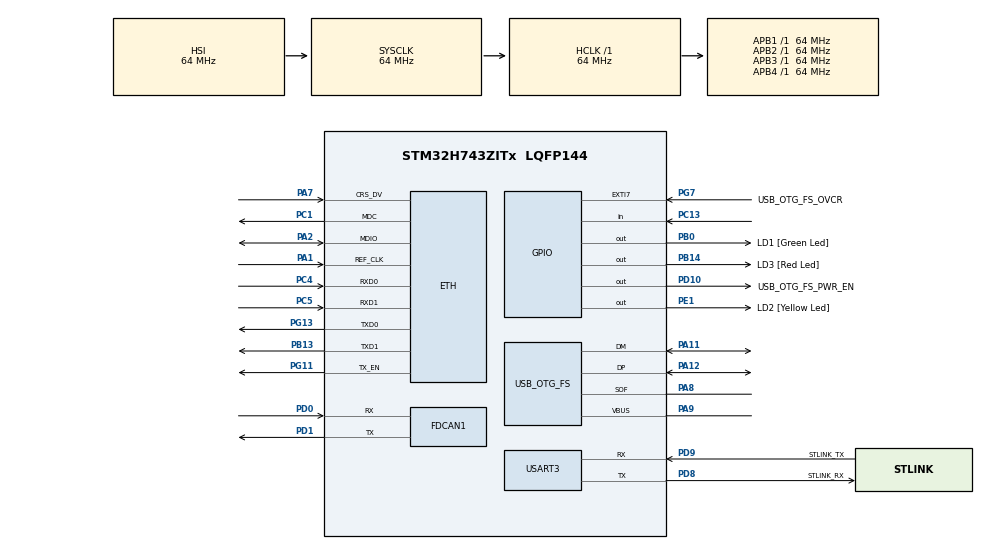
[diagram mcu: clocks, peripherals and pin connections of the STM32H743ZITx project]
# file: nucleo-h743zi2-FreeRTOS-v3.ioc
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ETH.MediaInterface=HAL_ETH_RMII_MODE
FDCAN1.AutoRetransmission=ENABLE
FDCAN1.DataSyncJumpWidth=4
FDCAN1.DataTimeSeg1=5
FDCAN1.DataTimeSeg2=4
FDCAN1.NominalSyncJumpWidth=16
FDCAN1.NominalTimeSeg1=63
FDCAN1.NominalTimeSeg2=16
FDCAN1.RxBuffersNbr=1
FDCAN1.RxFifo0ElmtsNbr=32
FDCAN1.RxFifo1ElmtsNbr=32
FDCAN1.StdFiltersNbr=1
FDCAN1.TransmitPause=ENABLE
FDCAN1.TxBuffersNbr=4
FDCAN1.TxEventsNbr=4
FDCAN1.TxFifoQueueElmtsNbr=32
FREERTOS.BinarySemaphores01=FollowThroughSem,Dynamic,NULL;ThreadExitSem,Dynamic,NULL
FREERTOS.Queues01=CommandQueue,16,uint16_t,0,Dynamic,NULL,NULL
FREERTOS.Tasks01=CommandHandler,47,128,StartCommandHandler,Default,NULL,Dynamic,NULL,NULL;Task1,24,128,StartTask1,Default,NULL,Dynamic,NULL,NULL;Task2,26,128,StartTask2,Default,NULL,Dynamic,NULL,NULL;CommandIdle,8,128,StartCommandIdle,Default,NULL,Dynamic,NULL,NULL;Task3,27,128,StartTask3,Default,NULL,Dynamic,NULL,NULL;ThreadTerminato,25,128,StartThreadTerminator,Default,NULL,Dynamic,NULL,NULL
FREERTOS.configUSE_NEWLIB_REENTRANT=1
Mcu.Family=STM32H7
Mcu.Name=STM32H743ZITx
Mcu.Package=LQFP144
NVIC.FDCAN1_IT0_IRQn=true\:5\:0\:false\:false\:true\:true\:true\:true\:true
NVIC.PriorityGroup=NVIC_PRIORITYGROUP_4
NVIC.TIM6_DAC_IRQn=true\:15\:0\:false\:false\:true\:false\:false\:true\:true
NVIC.TimeBase=TIM6_DAC_IRQn
NVIC.TimeBaseIP=TIM6
NVIC.USART3_IRQn=true\:5\:0\:false\:false\:true\:true\:true\:true\:true
PA1.Mode=RMII
PA1.Signal=ETH_REF_CLK
PA11.Mode=Device_Only
PA11.Signal=USB_OTG_FS_DM
PA12.Mode=Device_Only
PA12.Signal=USB_OTG_FS_DP
PA2.Mode=RMII
PA2.Signal=ETH_MDIO
PA7.Mode=RMII
PA7.Signal=ETH_CRS_DV
PA8.Mode=Activate_SOF_FS
PA8.Signal=USB_OTG_FS_SOF
PA9.Mode=Activate_VBUS
PA9.Signal=USB_OTG_FS_VBUS
PB0.GPIO_Label=LD1 [Green Led]
PB0.Signal=GPIO_Output
PB13.Mode=RMII
PB13.Signal=ETH_TXD1
PB14.GPIO_Label=LD3 [Red Led]
PB14.Signal=GPIO_Output
PC1.Mode=RMII
PC1.Signal=ETH_MDC
PC13.Signal=GPIO_Input
PC14-OSC32_IN\ (OSC32_IN).Mode=LSE-External-Oscillator
PC14-OSC32_IN\ (OSC32_IN).Signal=RCC_OSC32_IN
PC15-OSC32_OUT\ (OSC32_OUT).Mode=LSE-External-Oscillator
PC15-OSC32_OUT\ (OSC32_OUT).Signal=RCC_OSC32_OUT
PC4.Mode=RMII
PC4.Signal=ETH_RXD0
PC5.Mode=RMII
PC5.Signal=ETH_RXD1
PD0.Mode=FDCAN_Activate
PD0.Signal=FDCAN1_RX
PD1.Mode=FDCAN_Activate
PD1.Signal=FDCAN1_TX
PD10.GPIO_Label=USB_OTG_FS_PWR_EN
PD10.Signal=GPIO_Output
PD8.GPIO_Label=STLINK_RX
PD8.Mode=Asynchronous
PD8.Signal=USART3_TX
PD9.GPIO_Label=STLINK_TX
PD9.Mode=Asynchronous
PD9.Signal=USART3_RX
PE1.GPIO_Label=LD2 [Yellow Led]
PE1.Signal=GPIO_Output
PG11.Mode=RMII
PG11.Signal=ETH_TX_EN
PG13.Mode=RMII
PG13.Signal=ETH_TXD0
PG7.GPIO_Label=USB_OTG_FS_OVCR
PG7.Signal=GPXTI7
PH0-OSC_IN\ (PH0).Mode=HSE-External-Clock-Source
PH0-OSC_IN\ (PH0).Signal=RCC_OSC_IN
PH1-OSC_OUT\ (PH1).Signal=RCC_OSC_OUT
ProjectManager.HeapSize=0x200
ProjectManager.StackSize=0x400
ProjectManager.TargetToolchain=STM32CubeIDE
RCC.ADCFreq_Value=16125000
RCC.APB1Freq_Value=64000000
RCC.APB2Freq_Value=64000000
RCC.APB3Freq_Value=64000000
RCC.APB4Freq_Value=64000000
RCC.CortexFreq_Value=64000000
RCC.DIVM1=1
RCC.DIVN1=24
RCC.DIVQ1=4
RCC.HCLKFreq_Value=64000000
RCC.HSE_VALUE=8000000
RCC.PLLFRACN=0
RCC.PWR_Regulator_Voltage_Scale=PWR_REGULATOR_VOLTAGE_SCALE2
RCC.SYSCLKFreq_VALUE=64000000
RCC.USBFreq_Value=48000000
USART3.RXFIFOThreshold=RXFIFO_THRESHOLD_1EIGHTHFULL
USART3.VirtualMode-Asynchronous=VM_ASYNC
USB_OTG_FS.VirtualMode=Device_Only
VP_FREERTOS_VS_CMSIS_V2.Mode=CMSIS_V2
VP_SYS_VS_tim6.Mode=TIM6
board=NUCLEO-H743ZI2

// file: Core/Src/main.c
/* USER CODE BEGIN Header */
/**
  ******************************************************************************
  * @file           : main.c
  * @brief          : Main program body
  ******************************************************************************
  * @attention
  *
  * Copyright (c) 2022 STMicroelectronics.
  * All rights reserved.
  *
  * This software is licensed under terms that can be found in the LICENSE file
  * in the root directory of this software component.
  * If no LICENSE file comes with this software, it is provided AS-IS.
  *
  ******************************************************************************
  */
/* USER CODE END Header */
#include "main.h"
#include "string.h"
#include "cmsis_os.h"

/* USER CODE BEGIN Includes */
#include <stdio.h>
#include <time.h>	// seeding pseudo RNG
#include <stdlib.h>	// for rng
//#include "cmsis_os2.h"

/* USER CODE END Includes */

/* USER CODE BEGIN PM */
#if defined (__ICCARM__) || defined (__ARMCC_VERSION)
#define PUTCHAR_PROTOTYPE int fputc(int ch, FILE *f)
#define GETCHAR_PROTOTYPE int fgetc(FILE *f)
#elif defined(__GNUC__)
#define PUTCHAR_PROTOTYPE int __io_putchar(int ch)
#define GETCHAR_PROTOTYPE int __io_getchar(void)

GETCHAR_PROTOTYPE;
#endif

/* USER CODE END PM */

#if defined ( __ICCARM__ ) /*!< IAR Compiler */
#pragma location=0x30000000
ETH_DMADescTypeDef  DMARxDscrTab[ETH_RX_DESC_CNT]; /* Ethernet Rx DMA Descriptors */
#pragma location=0x30000200
ETH_DMADescTypeDef  DMATxDscrTab[ETH_TX_DESC_CNT]; /* Ethernet Tx DMA Descriptors */
#pragma location=0x30000260
uint8_t Rx_Buff[ETH_RX_DESC_CNT][ETH_MAX_PACKET_SIZE]; /* Ethernet Receive Buffers */

#elif defined ( __CC_ARM )  /* MDK ARM Compiler */

__attribute__((at(0x30000000))) ETH_DMADescTypeDef  DMARxDscrTab[ETH_RX_DESC_CNT]; /* Ethernet Rx DMA Descriptors */
__attribute__((at(0x30000200))) ETH_DMADescTypeDef  DMATxDscrTab[ETH_TX_DESC_CNT]; /* Ethernet Tx DMA Descriptors */
__attribute__((at(0x30000260))) uint8_t Rx_Buff[ETH_RX_DESC_CNT][ETH_MAX_PACKET_SIZE]; /* Ethernet Receive Buffer */

#elif defined ( __GNUC__ ) /* GNU Compiler */
ETH_DMADescTypeDef DMARxDscrTab[ETH_RX_DESC_CNT] __attribute__((section(".RxDecripSection"))); /* Ethernet Rx DMA Descriptors */
ETH_DMADescTypeDef DMATxDscrTab[ETH_TX_DESC_CNT] __attribute__((section(".TxDecripSection")));   /* Ethernet Tx DMA Descriptors */
uint8_t Rx_Buff[ETH_RX_DESC_CNT][ETH_MAX_PACKET_SIZE] __attribute__((section(".RxArraySection"))); /* Ethernet Receive Buffers */
#endif

ETH_TxPacketConfig TxConfig;

ETH_HandleTypeDef heth;

FDCAN_HandleTypeDef hfdcan1;

UART_HandleTypeDef huart3;

PCD_HandleTypeDef hpcd_USB_OTG_FS;

/* Definitions for CommandHandler */
osThreadId_t CommandHandlerHandle;
const osThreadAttr_t CommandHandler_attributes = {
  .name = "CommandHandler",
  .stack_size = 128 * 4,
  .priority = (osPriority_t) osPriorityHigh7,
};
/* Definitions for Task1 */
osThreadId_t Task1Handle;
const osThreadAttr_t Task1_attributes = {
  .name = "Task1",
  .stack_size = 128 * 4,
  .priority = (osPriority_t) osPriorityNormal,
};
/* Definitions for Task2 */
osThreadId_t Task2Handle;
const osThreadAttr_t Task2_attributes = {
  .name = "Task2",
  .stack_size = 128 * 4,
  .priority = (osPriority_t) osPriorityNormal2,
};
/* Definitions for CommandIdle */
osThreadId_t CommandIdleHandle;
const osThreadAttr_t CommandIdle_attributes = {
  .name = "CommandIdle",
  .stack_size = 128 * 4,
  .priority = (osPriority_t) osPriorityLow,
};
/* Definitions for Task3 */
osThreadId_t Task3Handle;
const osThreadAttr_t Task3_attributes = {
  .name = "Task3",
  .stack_size = 128 * 4,
  .priority = (osPriority_t) osPriorityNormal3,
};
/* Definitions for ThreadTerminato */
osThreadId_t ThreadTerminatoHandle;
const osThreadAttr_t ThreadTerminato_attributes = {
  .name = "ThreadTerminato",
  .stack_size = 128 * 4,
  .priority = (osPriority_t) osPriorityNormal1,
};
/* Definitions for CommandQueue */
osMessageQueueId_t CommandQueueHandle;
const osMessageQueueAttr_t CommandQueue_attributes = {
  .name = "CommandQueue"
};
/* Definitions for FollowThroughSem */
osSemaphoreId_t FollowThroughSemHandle;
const osSemaphoreAttr_t FollowThroughSem_attributes = {
  .name = "FollowThroughSem"
};
/* Definitions for ThreadExitSem */
osSemaphoreId_t ThreadExitSemHandle;
const osSemaphoreAttr_t ThreadExitSem_attributes = {
  .name = "ThreadExitSem"
};
/* USER CODE BEGIN PV */
FDCAN_FilterTypeDef sFilterConfig;
FDCAN_TxHeaderTypeDef TxHeader;
FDCAN_RxHeaderTypeDef RxHeader;

uint8_t TxData[] = {42, 69};
uint8_t RxData[2];
uint8_t USART_DATA[2];

osMutexId_t FollowThroughMutexHandle;

const osMutexAttr_t FollowThroughMutex_attributes = {
    "FollowThroughMutex",
		osMutexRobust | osMutexPrioInherit,
		NULL,
		0U
  };

int value;

char msg[] = "Hello this is a message\n";

/* USER CODE END PV */

void SystemClock_Config(void);
static void MX_GPIO_Init(void);
static void MX_ETH_Init(void);
static void MX_USART3_UART_Init(void);
static void MX_USB_OTG_FS_PCD_Init(void);
static void MX_FDCAN1_Init(void);
void StartCommandHandler(void *argument);
void StartTask1(void *argument);
void StartTask2(void *argument);
void StartCommandIdle(void *argument);
void StartTask3(void *argument);
void StartThreadTerminator(void *argument);

/* USER CODE BEGIN 0 */
int count=0;
gpio_t user_button;

void check_button(){
	if (HAL_GPIO_ReadPin(user_button.bank, user_button.pin) == 1){	// button is pressed
		printf("DEBUG: button pressed!\r\n");
		while(HAL_GPIO_ReadPin(user_button.bank, user_button.pin) == 1){ // wait until release
			// do nothing
		}
		printf("DEBUG: button released!\r\n");
	}
}

/* USER CODE END 0 */

int main(void)
{
  /* USER CODE BEGIN 1 */
	//OBC = 0: EPS, NEEDS TO SEND DATA TO OBC.
	//OBC = 1: ON-BOARD COMPUTER, NEEDS TO HANDLE INCOMING DATA
	//IF TX, OBC = 0
  int OBC = 1;
  /* USER CODE END 1 */

  /* MCU Configuration--------------------------------------------------------*/

  /* Reset of all peripherals, Initializes the Flash interface and the Systick. */
  HAL_Init();

  /* Configure the system clock */
  SystemClock_Config();

  /* USER CODE BEGIN SysInit */

	/**
	 * user button
	 * um1974-stm32-nucleo144-boards-mb1137-stmicroelectronics.pdf
	 * section 6.6
	 */
	user_button.bank = GPIOC;
	user_button.pin = GPIO_PIN_13;

  /* USER CODE END SysInit */

  /* Initialize all configured peripherals */
  MX_GPIO_Init();
  MX_ETH_Init();
  MX_USART3_UART_Init();
  MX_USB_OTG_FS_PCD_Init();
  MX_FDCAN1_Init();
  /* USER CODE BEGIN 2 */

  //Enable Interrupt Mode for USART3
  HAL_UART_Receive_IT(&huart3, USART_DATA, 1);

  printf("USART3 initialized\r\n");
  printf("FDCAN1 initialized\r\n");

  /* reception filter for Rx FIFO 0 */
  sFilterConfig.IdType = FDCAN_STANDARD_ID;
  sFilterConfig.FilterIndex = 0;
  sFilterConfig.FilterType = FDCAN_FILTER_MASK;
//  sFilterConfig.FilterConfig = FDCAN_FILTER_TO_RXBUFFER;
//  sFilterConfig.FilterID1 = 0x7FF;

  /**
   * Yong Da Li, Reid Sox-Harris
   * Saturday, Sept 03, 2022
   * don't use the FilterConfig = FDCAN_FILTER_TO_RXBUFFER mode
   * couldn't get it working
   * use the FilterConfig = FDCAN_FILTER_TO_RXFIFO0
   * 	then need to set FilterType = FDCAN_FILTER_MASK
   * section 4.3.1 of AN5348 App Note: FDCAN Peripheral on STM32 devices
   * Classic bit mask filter: to match groups of identifiers by masking bits of a received identifier. The first ID
   * configured is used as message ID filter, the second ID is used as filter mask. Each zero bit at the filter mask
   * masks out the corresponding bit position of the configured ID filter
   */
  sFilterConfig.FilterConfig = FDCAN_FILTER_TO_RXFIFO0;
  sFilterConfig.FilterID1 = 0x111;	// since all filterID2 is set to 1's, then must be exact match on filterID1
  sFilterConfig.FilterID2 = 0x7FF;
  // don't need the other struct components since we're using RX FIFO
  // they're only used if FilterConfig == FDCAN_FITLER_TO_RXBUFFER

  if (HAL_FDCAN_ConfigFilter(&hfdcan1, &sFilterConfig) != HAL_OK){
	  Error_Handler();
  }
  printf("FDCAN filter is configured\r\n");

//  /* Configure global filter:
//	Filter all remote frames with STD and EXT ID
//	Reject non matching frames with STD ID and EXT ID
//   */
  if (HAL_FDCAN_ConfigGlobalFilter(&hfdcan1, FDCAN_REJECT, FDCAN_REJECT, FDCAN_REJECT_REMOTE, FDCAN_REJECT_REMOTE) != HAL_OK){
	  Error_Handler();
  }

  if ((&hfdcan1, FDCAN_REJECT, FDCAN_REJECT, FDCAN_FILTER_REMOTE, FDCAN_FILTER_REMOTE) != HAL_OK){
	  Error_Handler();
  }
  printf("FDCAN global filter is configured\r\n");

  /* Prepare Tx message Header */
  TxHeader.Identifier = 0x111;
  TxHeader.IdType = FDCAN_STANDARD_ID;
  TxHeader.TxFrameType = FDCAN_DATA_FRAME;
  TxHeader.DataLength = FDCAN_DLC_BYTES_8;
  TxHeader.ErrorStateIndicator = FDCAN_ESI_ACTIVE;	// transmitting node is error active
  TxHeader.BitRateSwitch = FDCAN_BRS_OFF;
  TxHeader.FDFormat = FDCAN_CLASSIC_CAN;	// needs to be set to classic CAN mode, not FDCAN mode
  TxHeader.TxEventFifoControl = FDCAN_NO_TX_EVENTS;
  TxHeader.MessageMarker = 0;		// message marker to identify Tx message status, not too important
  printf("prepared TxHeader\r\n");

  // don't do any delay compensation
  // only required if we're using BRS = bit rate switching mode
  // for this basic setup, we're not doing that

  /* === trying to put FDCAN into interrupt mode === */
  /**
   * check out the example called "FDCAN_Com_IT" for the STM32H743I_EVAL discover board
   * open up a new project, and navigate to the example selector
   * Yong Da is basing his code from there
   */

  printf("putting the FDCAN module into interrupt mode\r\n");
  /* Configure Rx FIFO 0 watermark to 2 */
  HAL_FDCAN_ConfigFifoWatermark(&hfdcan1, FDCAN_CFG_RX_FIFO0, 2);

  /* Activate Rx FIFO 0 watermark notification */
  HAL_FDCAN_ActivateNotification(&hfdcan1, FDCAN_IT_RX_FIFO0_WATERMARK, 0);

  /* === starting FDCAN module, must be last thing to do === */
  printf("trying to start FDCAN module\r\n");\
  if(HAL_FDCAN_Start(&hfdcan1) != HAL_OK){
	  Error_Handler();
  }
  printf("successfully started FDCAN module\r\n");

  /* === seed random number === */
  srand(time(NULL));

  /* USER CODE END 2 */

  /* Init scheduler */
  osKernelInitialize();

  /* USER CODE BEGIN RTOS_MUTEX */
  FollowThroughMutexHandle = osMutexNew(&FollowThroughMutex_attributes);
  //if(FollowThroughMutexHandle == NULL)
  //	Error_Handler();
  //else
  //	printf("%s", osMutexGetName(FollowThroughMutexHandle));
  /* USER CODE END RTOS_MUTEX */

  /* Create the semaphores(s) */
  /* creation of FollowThroughSem */
  FollowThroughSemHandle = osSemaphoreNew(1, 1, &FollowThroughSem_attributes);

  /* creation of ThreadExitSem */
  ThreadExitSemHandle = osSemaphoreNew(1, 1, &ThreadExitSem_attributes);

  /* USER CODE BEGIN RTOS_SEMAPHORES */
  osSemaphoreAcquire(ThreadExitSemHandle, 0); //Start at 0. //Change the creation instead to start at 0 later.
  /* USER CODE END RTOS_SEMAPHORES */

  /* Create the queue(s) */
  /* creation of CommandQueue */
  CommandQueueHandle = osMessageQueueNew (16, sizeof(uint16_t), &CommandQueue_attributes);

  /* Create the thread(s) */
  /* creation of CommandHandler */
  CommandHandlerHandle = osThreadNew(StartCommandHandler, NULL, &CommandHandler_attributes);

  /* creation of Task1 */
  Task1Handle = osThreadNew(StartTask1, NULL, &Task1_attributes);

  /* creation of Task2 */
  Task2Handle = osThreadNew(StartTask2, NULL, &Task2_attributes);

  /* creation of CommandIdle */
  CommandIdleHandle = osThreadNew(StartCommandIdle, NULL, &CommandIdle_attributes);

  /* creation of Task3 */
  Task3Handle = osThreadNew(StartTask3, NULL, &Task3_attributes);

  /* creation of ThreadTerminato */
  ThreadTerminatoHandle = osThreadNew(StartThreadTerminator, NULL, &ThreadTerminato_attributes);

  /* USER CODE BEGIN RTOS_THREADS */
  osThreadTerminate(Task1Handle);
  osThreadTerminate(Task2Handle);
  osThreadTerminate(Task3Handle);
  /* USER CODE END RTOS_THREADS */

  /* Start scheduler */
  osKernelStart();

  /* We should never get here as control is now taken by the scheduler */
  /* Infinite loop */
  /* USER CODE BEGIN WHILE */
  while (1)
  {
	  if(OBC == 0)
	  {
		  /* ========== TX super loop ========== */
		  printf("count: %d\n\r", count);
		  count++;

		  printf("trying to add message to TxFifo: TxData[0]=%3d, TxData[1]=%3d\r\n", TxData[0], TxData[1]);
		  if (HAL_FDCAN_AddMessageToTxFifoQ(&hfdcan1, &TxHeader, TxData) != HAL_OK){
			  Error_Handler();
		  }
		  printf("successfully added message to TxFifo\r\n");

		  TxData[0] = (uint8_t)rand();
		  TxData[1] = (uint8_t)rand();
		  //Try changing this value here back and forth from 0x111 to 0x100. First make sure it works.
		  if(TxHeader.Identifier == 0x111)
		  {
			  printf("Changing Identifier to 0x111\r\n");
			  TxHeader.Identifier = 0x110;
		  }
		  else
		  {
			  printf("Changing Identifier to 0x110\r\n");
			  TxHeader.Identifier = 0x111;
		  }

		  check_button();

		  HAL_Delay(250);
		  /* ========== TX super loop end ========== */
	  }
    /* USER CODE END WHILE */

  }
}

void SystemClock_Config(void)
{
  RCC_OscInitTypeDef RCC_OscInitStruct = {0};
  RCC_ClkInitTypeDef RCC_ClkInitStruct = {0};

  /** Supply configuration update enable
  */
  HAL_PWREx_ConfigSupply(PWR_LDO_SUPPLY);

  /** Configure the main internal regulator output voltage
  */
  __HAL_PWR_VOLTAGESCALING_CONFIG(PWR_REGULATOR_VOLTAGE_SCALE2);

  while(!__HAL_PWR_GET_FLAG(PWR_FLAG_VOSRDY)) {}

  /** Initializes the RCC Oscillators according to the specified parameters
  * in the RCC_OscInitTypeDef structure.
  */
  RCC_OscInitStruct.OscillatorType = RCC_OSCILLATORTYPE_HSI|RCC_OSCILLATORTYPE_HSE;
  RCC_OscInitStruct.HSEState = RCC_HSE_BYPASS;
  RCC_OscInitStruct.HSIState = RCC_HSI_DIV1;
  RCC_OscInitStruct.HSICalibrationValue = RCC_HSICALIBRATION_DEFAULT;
  RCC_OscInitStruct.PLL.PLLState = RCC_PLL_ON;
  RCC_OscInitStruct.PLL.PLLSource = RCC_PLLSOURCE_HSE;
  RCC_OscInitStruct.PLL.PLLM = 1;
  RCC_OscInitStruct.PLL.PLLN = 24;
  RCC_OscInitStruct.PLL.PLLP = 2;
  RCC_OscInitStruct.PLL.PLLQ = 4;
  RCC_OscInitStruct.PLL.PLLR = 2;
  RCC_OscInitStruct.PLL.PLLRGE = RCC_PLL1VCIRANGE_3;
  RCC_OscInitStruct.PLL.PLLVCOSEL = RCC_PLL1VCOWIDE;
  RCC_OscInitStruct.PLL.PLLFRACN = 0;
  if (HAL_RCC_OscConfig(&RCC_OscInitStruct) != HAL_OK)
  {
    Error_Handler();
  }

  /** Initializes the CPU, AHB and APB buses clocks
  */
  RCC_ClkInitStruct.ClockType = RCC_CLOCKTYPE_HCLK|RCC_CLOCKTYPE_SYSCLK
                              |RCC_CLOCKTYPE_PCLK1|RCC_CLOCKTYPE_PCLK2
                              |RCC_CLOCKTYPE_D3PCLK1|RCC_CLOCKTYPE_D1PCLK1;
  RCC_ClkInitStruct.SYSCLKSource = RCC_SYSCLKSOURCE_HSI;
  RCC_ClkInitStruct.SYSCLKDivider = RCC_SYSCLK_DIV1;
  RCC_ClkInitStruct.AHBCLKDivider = RCC_HCLK_DIV1;
  RCC_ClkInitStruct.APB3CLKDivider = RCC_APB3_DIV1;
  RCC_ClkInitStruct.APB1CLKDivider = RCC_APB1_DIV1;
  RCC_ClkInitStruct.APB2CLKDivider = RCC_APB2_DIV1;
  RCC_ClkInitStruct.APB4CLKDivider = RCC_APB4_DIV1;

  if (HAL_RCC_ClockConfig(&RCC_ClkInitStruct, FLASH_LATENCY_1) != HAL_OK)
  {
    Error_Handler();
  }
}

static void MX_ETH_Init(void)
{

   static uint8_t MACAddr[6];

  heth.Instance = ETH;
  MACAddr[0] = 0x00;
  MACAddr[1] = 0x80;
  MACAddr[2] = 0xE1;
  MACAddr[3] = 0x00;
  MACAddr[4] = 0x00;
  MACAddr[5] = 0x00;
  heth.Init.MACAddr = &MACAddr[0];
  heth.Init.MediaInterface = HAL_ETH_RMII_MODE;
  heth.Init.TxDesc = DMATxDscrTab;
  heth.Init.RxDesc = DMARxDscrTab;
  heth.Init.RxBuffLen = 1524;

  if (HAL_ETH_Init(&heth) != HAL_OK)
  {
    Error_Handler();
  }

  memset(&TxConfig, 0 , sizeof(ETH_TxPacketConfig));
  TxConfig.Attributes = ETH_TX_PACKETS_FEATURES_CSUM | ETH_TX_PACKETS_FEATURES_CRCPAD;
  TxConfig.ChecksumCtrl = ETH_CHECKSUM_IPHDR_PAYLOAD_INSERT_PHDR_CALC;
  TxConfig.CRCPadCtrl = ETH_CRC_PAD_INSERT;

}

static void MX_FDCAN1_Init(void)
{

  hfdcan1.Instance = FDCAN1;
  hfdcan1.Init.FrameFormat = FDCAN_FRAME_CLASSIC;
  hfdcan1.Init.Mode = FDCAN_MODE_NORMAL;
  hfdcan1.Init.AutoRetransmission = ENABLE;
  hfdcan1.Init.TransmitPause = ENABLE;
  hfdcan1.Init.ProtocolException = DISABLE;
  hfdcan1.Init.NominalPrescaler = 1;
  hfdcan1.Init.NominalSyncJumpWidth = 16;
  hfdcan1.Init.NominalTimeSeg1 = 63;
  hfdcan1.Init.NominalTimeSeg2 = 16;
  hfdcan1.Init.DataPrescaler = 1;
  hfdcan1.Init.DataSyncJumpWidth = 4;
  hfdcan1.Init.DataTimeSeg1 = 5;
  hfdcan1.Init.DataTimeSeg2 = 4;
  hfdcan1.Init.MessageRAMOffset = 0;
  hfdcan1.Init.StdFiltersNbr = 1;
  hfdcan1.Init.ExtFiltersNbr = 0;
  hfdcan1.Init.RxFifo0ElmtsNbr = 32;
  hfdcan1.Init.RxFifo0ElmtSize = FDCAN_DATA_BYTES_8;
  hfdcan1.Init.RxFifo1ElmtsNbr = 32;
  hfdcan1.Init.RxFifo1ElmtSize = FDCAN_DATA_BYTES_8;
  hfdcan1.Init.RxBuffersNbr = 1;
  hfdcan1.Init.RxBufferSize = FDCAN_DATA_BYTES_8;
  hfdcan1.Init.TxEventsNbr = 4;
  hfdcan1.Init.TxBuffersNbr = 4;
  hfdcan1.Init.TxFifoQueueElmtsNbr = 32;
  hfdcan1.Init.TxFifoQueueMode = FDCAN_TX_FIFO_OPERATION;
  hfdcan1.Init.TxElmtSize = FDCAN_DATA_BYTES_8;
  if (HAL_FDCAN_Init(&hfdcan1) != HAL_OK)
  {
    Error_Handler();
  }

}

static void MX_USART3_UART_Init(void)
{

  huart3.Instance = USART3;
  huart3.Init.BaudRate = 115200;
  huart3.Init.WordLength = UART_WORDLENGTH_8B;
  huart3.Init.StopBits = UART_STOPBITS_1;
  huart3.Init.Parity = UART_PARITY_NONE;
  huart3.Init.Mode = UART_MODE_TX_RX;
  huart3.Init.HwFlowCtl = UART_HWCONTROL_NONE;
  huart3.Init.OverSampling = UART_OVERSAMPLING_16;
  huart3.Init.OneBitSampling = UART_ONE_BIT_SAMPLE_DISABLE;
  huart3.Init.ClockPrescaler = UART_PRESCALER_DIV1;
  huart3.AdvancedInit.AdvFeatureInit = UART_ADVFEATURE_NO_INIT;
  if (HAL_UART_Init(&huart3) != HAL_OK)
  {
    Error_Handler();
  }
  if (HAL_UARTEx_SetTxFifoThreshold(&huart3, UART_TXFIFO_THRESHOLD_1_8) != HAL_OK)
  {
    Error_Handler();
  }
  if (HAL_UARTEx_SetRxFifoThreshold(&huart3, UART_RXFIFO_THRESHOLD_1_8) != HAL_OK)
  {
    Error_Handler();
  }
  if (HAL_UARTEx_DisableFifoMode(&huart3) != HAL_OK)
  {
    Error_Handler();
  }

}

static void MX_USB_OTG_FS_PCD_Init(void)
{

  hpcd_USB_OTG_FS.Instance = USB_OTG_FS;
  hpcd_USB_OTG_FS.Init.dev_endpoints = 9;
  hpcd_USB_OTG_FS.Init.speed = PCD_SPEED_FULL;
  hpcd_USB_OTG_FS.Init.dma_enable = DISABLE;
  hpcd_USB_OTG_FS.Init.phy_itface = PCD_PHY_EMBEDDED;
  hpcd_USB_OTG_FS.Init.Sof_enable = ENABLE;
  hpcd_USB_OTG_FS.Init.low_power_enable = DISABLE;
  hpcd_USB_OTG_FS.Init.lpm_enable = DISABLE;
  hpcd_USB_OTG_FS.Init.battery_charging_enable = ENABLE;
  hpcd_USB_OTG_FS.Init.vbus_sensing_enable = ENABLE;
  hpcd_USB_OTG_FS.Init.use_dedicated_ep1 = DISABLE;
  if (HAL_PCD_Init(&hpcd_USB_OTG_FS) != HAL_OK)
  {
    Error_Handler();
  }

}

static void MX_GPIO_Init(void)
{
  GPIO_InitTypeDef GPIO_InitStruct = {0};

  /* GPIO Ports Clock Enable */
  __HAL_RCC_GPIOC_CLK_ENABLE();
  __HAL_RCC_GPIOH_CLK_ENABLE();
  __HAL_RCC_GPIOA_CLK_ENABLE();
  __HAL_RCC_GPIOB_CLK_ENABLE();
  __HAL_RCC_GPIOD_CLK_ENABLE();
  __HAL_RCC_GPIOG_CLK_ENABLE();
  __HAL_RCC_GPIOE_CLK_ENABLE();

  /*Configure GPIO pin Output Level */
  HAL_GPIO_WritePin(GPIOB, LD1_Pin|LD3_Pin, GPIO_PIN_RESET);

  /*Configure GPIO pin Output Level */
  HAL_GPIO_WritePin(USB_OTG_FS_PWR_EN_GPIO_Port, USB_OTG_FS_PWR_EN_Pin, GPIO_PIN_RESET);

  /*Configure GPIO pin Output Level */
  HAL_GPIO_WritePin(LD2_GPIO_Port, LD2_Pin, GPIO_PIN_RESET);

  /*Configure GPIO pin : PC13 */
  GPIO_InitStruct.Pin = GPIO_PIN_13;
  GPIO_InitStruct.Mode = GPIO_MODE_INPUT;
  GPIO_InitStruct.Pull = GPIO_NOPULL;
  HAL_GPIO_Init(GPIOC, &GPIO_InitStruct);

  /*Configure GPIO pins : LD1_Pin LD3_Pin */
  GPIO_InitStruct.Pin = LD1_Pin|LD3_Pin;
  GPIO_InitStruct.Mode = GPIO_MODE_OUTPUT_PP;
  GPIO_InitStruct.Pull = GPIO_NOPULL;
  GPIO_InitStruct.Speed = GPIO_SPEED_FREQ_LOW;
  HAL_GPIO_Init(GPIOB, &GPIO_InitStruct);

  /*Configure GPIO pin : USB_OTG_FS_PWR_EN_Pin */
  GPIO_InitStruct.Pin = USB_OTG_FS_PWR_EN_Pin;
  GPIO_InitStruct.Mode = GPIO_MODE_OUTPUT_PP;
  GPIO_InitStruct.Pull = GPIO_NOPULL;
  GPIO_InitStruct.Speed = GPIO_SPEED_FREQ_LOW;
  HAL_GPIO_Init(USB_OTG_FS_PWR_EN_GPIO_Port, &GPIO_InitStruct);

  /*Configure GPIO pin : USB_OTG_FS_OVCR_Pin */
  GPIO_InitStruct.Pin = USB_OTG_FS_OVCR_Pin;
  GPIO_InitStruct.Mode = GPIO_MODE_IT_RISING;
  GPIO_InitStruct.Pull = GPIO_NOPULL;
  HAL_GPIO_Init(USB_OTG_FS_OVCR_GPIO_Port, &GPIO_InitStruct);

  /*Configure GPIO pin : LD2_Pin */
  GPIO_InitStruct.Pin = LD2_Pin;
  GPIO_InitStruct.Mode = GPIO_MODE_OUTPUT_PP;
  GPIO_InitStruct.Pull = GPIO_NOPULL;
  GPIO_InitStruct.Speed = GPIO_SPEED_FREQ_LOW;
  HAL_GPIO_Init(LD2_GPIO_Port, &GPIO_InitStruct);

}

/* USER CODE BEGIN 4 */
void HAL_FDCAN_RxFifo0Callback(FDCAN_HandleTypeDef *hfdcan, uint32_t RxFifo0ITs){
	if((RxFifo0ITs & FDCAN_IT_RX_FIFO0_WATERMARK) == RESET){
		Error_Handler();
	}

	printf("hit the callback RXFifo0\n\r");

	// https://overiq.com/c-programming-101/local-global-and-static-variables-in-c/
	static int count = 0;	// retain the variable value between different function calls

	/* Retrieve Rx message from RX FIFO0 */
	if (HAL_FDCAN_GetRxMessage(&hfdcan1, FDCAN_RX_FIFO0, &RxHeader, RxData) != HAL_OK){
	  Error_Handler();
	}

	printf("count=%3d, received RxData[0]=%3d, RxData[1]=%d\r\n", count, RxData[0], RxData[1]);
	count++;
}

/**
 * @brief  Retargets the C library printf function to the USART.
 * @param  None
 * @retval None
 */
PUTCHAR_PROTOTYPE
{
	/* Place your implementation of fputc here */
	/* e.g. write a character to the USART1 and Loop until the end of transmission */
	HAL_UART_Transmit(&huart3, (uint8_t *)&ch, 1, 0xFFFF);

	return ch;
}

GETCHAR_PROTOTYPE
{
	uint8_t ch = 0;
	/* Place your implementation of fgetc here */

	/* Clear the Overrun flag just before receiving the first character */
	__HAL_UART_CLEAR_OREFLAG(&huart3);

	/* Wait for reception of a character on the USART1 RX line
     and echo this character on console */
	HAL_UART_Receive(&huart3, (uint16_t *)&ch, 1, 0xFFFF);
	HAL_UART_Transmit(&huart3, (uint16_t *)&ch, 1, 0xFFFF);
	return ch;
}

void HAL_UART_RxCpltCallback(UART_HandleTypeDef* huart3)
{
	printf("HAL_UART_RxCpltCallback: %u\n", USART_DATA[0]);
	uint16_t command = (uint16_t) USART_DATA[0];
	osMessageQueuePut(CommandQueueHandle, (void*) &command, 0, 0);
	HAL_UART_Receive_IT(huart3, USART_DATA, 1);
}

/* USER CODE END 4 */

void StartCommandHandler(void *argument)
{
  /* USER CODE BEGIN 5 */
	uint16_t command;
  /* Infinite loop */
  while(1)
  {
  	if(osMessageQueueGet(CommandQueueHandle, (void*) &command, NULL, osWaitForever) == osOK)
  	{

  		command = command - 48; //From ASCII to int

  		if(command < 0 || command > 9)
  		{
  			printf("Invalid INT. Try again\n");
  		}

  		else if(command == 1)
  		{
  			if(osThreadGetState(Task1Handle) == osThreadInactive ||
  				 osThreadGetState(Task1Handle) == osThreadTerminated)
  			{
  				Task1Handle = osThreadNew(StartTask1, NULL, &Task1_attributes);
  			}
  			else
  			{
  				printf("Task1 Is Already Running\n");
  			}
  		}

  		else if(command == 2)
  		{
  			if(osThreadGetState(Task2Handle) == osThreadInactive ||
  			   osThreadGetState(Task2Handle) == osThreadTerminated)
  			{
  				Task2Handle = osThreadNew(StartTask2, NULL, &Task2_attributes);
  			}
  		  else
  			{
  			  printf("Task2 Is Already Running\n");
  			}
  		}

  		else if(command == 3)
  		{
  			if(osThreadGetState(Task3Handle) == osThreadInactive ||
  			   osThreadGetState(Task3Handle) == osThreadTerminated)
  			{
  				Task3Handle = osThreadNew(StartTask3, NULL, &Task3_attributes);
  			}
  			else
  			{
  				printf("Task3 Is Already Running\n");
  			}
  		}
  		else
  		{
  			printf("Command not implemented\n");
  		}
  	}

  }
  /* USER CODE END 5 */
}

void StartTask1(void *argument)
{
  /* USER CODE BEGIN StartTask1 */
  /* Infinite loop */
  for(;;)
  {
  	printf("Task 1 is running\n");
    osDelay(100);
  }
  /* USER CODE END StartTask1 */
}

void StartTask2(void *argument)
{
  /* USER CODE BEGIN StartTask2 */

	if(osSemaphoreAcquire(FollowThroughSemHandle, osWaitForever) == osOK)
	{

		printf("Task 2 is running\n");

		/* Non-Infinite loop */
		for(int i = -1 ; i < 1000; ++ i)
		{
			for(int d = 0; d < 30000; ++d)
			{
				;
			}

			if((i+1) % 250 == 0)
				printf("Task 2 is %u %% finished\n", (uint16_t)((i+1) / 10));

		}
	}
	osSemaphoreRelease(ThreadExitSemHandle);
  osThreadExit(); //This releases Mutex (Or it should)
  /* USER CODE END StartTask2 */
}

void StartCommandIdle(void *argument)
{
  /* USER CODE BEGIN StartCommandIdle */
  /* Infinite loop */
  for(;;)
  {
  	//Inf Loop, idle-ing waiting for interrupts
  }
  /* USER CODE END StartCommandIdle */
}

void StartTask3(void *argument)
{
  /* USER CODE BEGIN StartTask3 */

	if(osSemaphoreAcquire(FollowThroughSemHandle, osWaitForever) == osOK)
	{
		printf("Task 3 is running\n");

		/* Non-Infinite loop */
		for(int i = -1 ; i < 1000; ++ i)
		{
			for(int d = 0; d < 30000; ++d)
			{
				;
			}
			if((i+1) % 250 == 0)
				printf("Task 3 is %u %% finished\n", (uint16_t)((i+1) / 10));

		}
	}
	osSemaphoreRelease(ThreadExitSemHandle);
	osThreadExit(); //This releases Mutex (Or it should)
  /* USER CODE END StartTask3 */
}

void StartThreadTerminator(void *argument)
{
  /* USER CODE BEGIN StartThreadTerminator */
  /* Infinite loop */
  for(;;)
  {
    while(osSemaphoreAcquire(ThreadExitSemHandle, osWaitForever) == osOK)
    {
    	osSemaphoreRelease(FollowThroughSemHandle);
    }
  }
  /* USER CODE END StartThreadTerminator */
}

void HAL_TIM_PeriodElapsedCallback(TIM_HandleTypeDef *htim)
{
  if (htim->Instance == TIM6) {
    HAL_IncTick();
  }
}

void Error_Handler(void)
{
  /* USER CODE BEGIN Error_Handler_Debug */
  /* User can add his own implementation to report the HAL error return state */
  __disable_irq();
  while (1)
  {
	  HAL_GPIO_WritePin(GPIOB, GPIO_PIN_14, GPIO_PIN_SET);
	  HAL_Delay(1000);

	  HAL_GPIO_WritePin(GPIOB, GPIO_PIN_14, GPIO_PIN_RESET);
	  HAL_Delay(1000);
  }
  /* USER CODE END Error_Handler_Debug */
}
